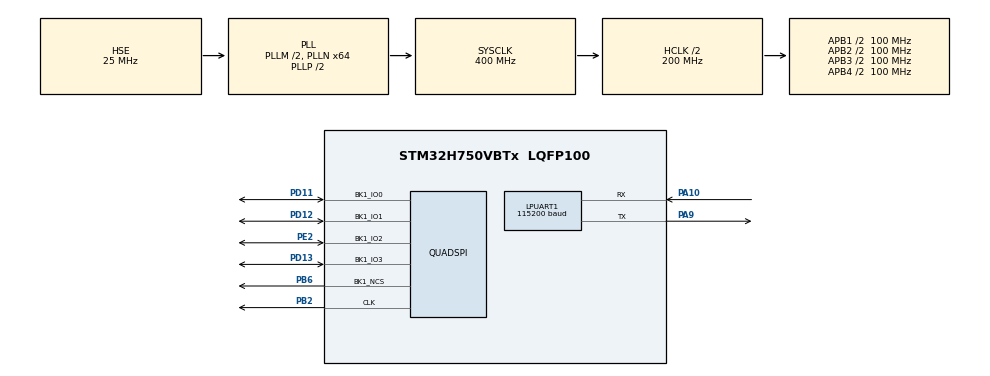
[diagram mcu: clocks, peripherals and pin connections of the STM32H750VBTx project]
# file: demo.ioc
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LPUART1.BaudRate=115200
Mcu.Family=STM32H7
Mcu.Name=STM32H750VBTx
Mcu.Package=LQFP100
Mdma.MDMA_Channel1.QUADSPI_FIFO_TH.0.BlockCount=0
Mdma.MDMA_Channel1.QUADSPI_FIFO_TH.0.BlockDataLength=0
Mdma.MDMA_Channel1.QUADSPI_FIFO_TH.0.BufferTransferLength=128
Mdma.MDMA_Channel1.QUADSPI_FIFO_TH.0.CircularMode=MDMA_LINEAR_LIST
Mdma.MDMA_Channel1.QUADSPI_FIFO_TH.0.DataAlignment=MDMA_DATAALIGN_PACKENABLE
Mdma.MDMA_Channel1.QUADSPI_FIFO_TH.0.DestBlockAddressOffset=0
Mdma.MDMA_Channel1.QUADSPI_FIFO_TH.0.DestBurst=MDMA_DEST_BURST_SINGLE
Mdma.MDMA_Channel1.QUADSPI_FIFO_TH.0.DestDataSize=MDMA_DEST_DATASIZE_BYTE
Mdma.MDMA_Channel1.QUADSPI_FIFO_TH.0.DestinationInc=MDMA_DEST_INC_DISABLE
Mdma.MDMA_Channel1.QUADSPI_FIFO_TH.0.DstAddress=0
Mdma.MDMA_Channel1.QUADSPI_FIFO_TH.0.Endianness=MDMA_LITTLE_ENDIANNESS_PRESERVE
Mdma.MDMA_Channel1.QUADSPI_FIFO_TH.0.Instance=MDMA_Channel1
Mdma.MDMA_Channel1.QUADSPI_FIFO_TH.0.MaskAddress=0
Mdma.MDMA_Channel1.QUADSPI_FIFO_TH.0.MaskData=0
Mdma.MDMA_Channel1.QUADSPI_FIFO_TH.0.Priority=MDMA_PRIORITY_MEDIUM
Mdma.MDMA_Channel1.QUADSPI_FIFO_TH.0.Rank=First
Mdma.MDMA_Channel1.QUADSPI_FIFO_TH.0.SourceBlockAddressOffset=0
Mdma.MDMA_Channel1.QUADSPI_FIFO_TH.0.SourceBurst=MDMA_SOURCE_BURST_SINGLE
Mdma.MDMA_Channel1.QUADSPI_FIFO_TH.0.SourceDataSize=MDMA_SRC_DATASIZE_BYTE
Mdma.MDMA_Channel1.QUADSPI_FIFO_TH.0.SourceInc=MDMA_SRC_INC_BYTE
Mdma.MDMA_Channel1.QUADSPI_FIFO_TH.0.SrcAddress=0
Mdma.MDMA_Channel1.QUADSPI_FIFO_TH.0.TransferTriggerMode=MDMA_BUFFER_TRANSFER
Mdma.MDMA_Channel1.Request0=QUADSPI_FIFO_TH
Mdma.MDMA_Channel1.RequestsNb=1
Mdma.RequestSet0=MDMA_Channel1
Mdma.RequestSetsNb=1
NVIC.MDMA_IRQn=true\:0\:0\:false\:false\:true\:false\:true\:true
NVIC.PriorityGroup=NVIC_PRIORITYGROUP_4
NVIC.QUADSPI_IRQn=true\:1\:0\:true\:false\:true\:true\:true\:true
PA10.Mode=Asynchronous
PA10.Signal=LPUART1_RX
PA13\ (JTMS/SWDIO).Mode=Serial_Wire
PA13\ (JTMS/SWDIO).Signal=DEBUG_JTMS-SWDIO
PA14\ (JTCK/SWCLK).Mode=Serial_Wire
PA14\ (JTCK/SWCLK).Signal=DEBUG_JTCK-SWCLK
PA9.Mode=Asynchronous
PA9.Signal=LPUART1_TX
PB2.GPIO_Speed=GPIO_SPEED_FREQ_VERY_HIGH
PB2.Mode=Single Bank 1
PB2.Signal=QUADSPI_CLK
PB6.GPIO_Speed=GPIO_SPEED_FREQ_VERY_HIGH
PB6.Mode=Single Bank 1
PB6.Signal=QUADSPI_BK1_NCS
PC14-OSC32_IN\ (OSC32_IN).Mode=LSE-External-Oscillator
PC14-OSC32_IN\ (OSC32_IN).Signal=RCC_OSC32_IN
PC15-OSC32_OUT\ (OSC32_OUT).Mode=LSE-External-Oscillator
PC15-OSC32_OUT\ (OSC32_OUT).Signal=RCC_OSC32_OUT
PD11.GPIO_Speed=GPIO_SPEED_FREQ_VERY_HIGH
PD11.Mode=Single Bank 1
PD11.Signal=QUADSPI_BK1_IO0
PD12.GPIO_Speed=GPIO_SPEED_FREQ_VERY_HIGH
PD12.Mode=Single Bank 1
PD12.Signal=QUADSPI_BK1_IO1
PD13.GPIO_Speed=GPIO_SPEED_FREQ_VERY_HIGH
PD13.Mode=Single Bank 1
PD13.Signal=QUADSPI_BK1_IO3
PE2.GPIO_Speed=GPIO_SPEED_FREQ_VERY_HIGH
PE2.Mode=Single Bank 1
PE2.Signal=QUADSPI_BK1_IO2
PH0-OSC_IN\ (PH0).Mode=HSE-External-Oscillator
PH0-OSC_IN\ (PH0).Signal=RCC_OSC_IN
PH1-OSC_OUT\ (PH1).Mode=HSE-External-Oscillator
PH1-OSC_OUT\ (PH1).Signal=RCC_OSC_OUT
ProjectManager.HeapSize=0x200
ProjectManager.StackSize=0x400
ProjectManager.TargetToolchain=MDK-ARM V5.32
QUADSPI.ChipSelectHighTime=QSPI_CS_HIGH_TIME_2_CYCLE
QUADSPI.ClockPrescaler=1
QUADSPI.FifoThreshold=16
QUADSPI.FlashSize=22
QUADSPI.SampleShifting=QSPI_SAMPLE_SHIFTING_HALFCYCLE
RCC.ADCFreq_Value=75000000
RCC.APB1Freq_Value=100000000
RCC.APB2Freq_Value=100000000
RCC.APB3Freq_Value=100000000
RCC.APB4Freq_Value=100000000
RCC.CortexFreq_Value=400000000
RCC.D1PPRE=RCC_APB3_DIV2
RCC.D2PPRE1=RCC_APB1_DIV2
RCC.D2PPRE2=RCC_APB2_DIV2
RCC.D3PPRE=RCC_APB4_DIV2
RCC.DIVM1=2
RCC.DIVM2=2
RCC.DIVM3=2
RCC.DIVN1=64
RCC.DIVN2=12
RCC.DIVN3=24
RCC.DIVQ1=8
RCC.DIVR1=4
RCC.HCLKFreq_Value=200000000
RCC.HPRE=RCC_HCLK_DIV2
RCC.PLL2FRACN=0
RCC.PLL2_VCO_SEL-AdvancedSettings=RCC_PLL2VCOMEDIUM
RCC.PLL3FRACN=0
RCC.PLLFRACN=0
RCC.PLLSourceVirtual=RCC_PLLSOURCE_HSE
RCC.SYSCLKFreq_VALUE=400000000
RCC.SYSCLKSource=RCC_SYSCLKSOURCE_PLLCLK
RCC.USBFreq_Value=100000000
board=custom

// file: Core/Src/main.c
/* USER CODE BEGIN Header */
/**
  ******************************************************************************
  * @file           : main.c
  * @brief          : Main program body
  ******************************************************************************
  * @attention
  *
  * Copyright (c) 2023 STMicroelectronics.
  * All rights reserved.
  *
  * This software is licensed under terms that can be found in the LICENSE file
  * in the root directory of this software component.
  * If no LICENSE file comes with this software, it is provided AS-IS.
  *
  ******************************************************************************
  */
/* USER CODE END Header */
#include "main.h"
#include "usart.h"
#include "mdma.h"
#include "quadspi.h"
#include "gpio.h"

/* USER CODE BEGIN Includes */
#include <stdio.h>
#include <string.h>
#include <stdlib.h>
#include "QSPI_Flash.h"
/* USER CODE END Includes */

void SystemClock_Config(void);

int main(void)
{

  /* MCU Configuration--------------------------------------------------------*/

  /* Reset of all peripherals, Initializes the Flash interface and the Systick. */
  HAL_Init();

  /* Configure the system clock */
  SystemClock_Config();

  /* Initialize all configured peripherals */
  MX_GPIO_Init();
  MX_LPUART1_UART_Init();
  MX_MDMA_Init();
  MX_QUADSPI_Init();
  /* USER CODE BEGIN 2 */
	printf("work\r\n");
  uint8_t data1[16] = {0};
  uint8_t data2[16] = {0};
  QSPI_InitFlash();
  printf("Completed!\r\n");
  printf("read JEDEC:%x\r\n",QSPI_W25Qx_ReadID_DMA());

  printf("Writing data:\r\n");
  for(int i = 0; i < sizeof(data1); i++){
    data1[i] = rand()%256;
    printf("0x%x  ", data1[i]);
    if(i%8 == 7){
      printf("\r\n");
    }
  }

  QSPI_EraseSector(0);
  QSPI_Write(data1, 0, sizeof(data1));
  printf("write over\r\n");

  HAL_Delay(1000);

  printf("Reading data:\r\n");
  QSPI_SetQuardEnable(true);
  printf("QuadRead:%d\r\n",QSPI_QuadOutputFastRead(data2, 0, sizeof(data2)));
  for(int i = 0; i < sizeof(data2); i++){
    printf("0X%x  ", data2[i]);
    if(i%8 == 7){
      printf("\r\n");
    }
  }
	HAL_Delay(1000);
	//DMA
	printf("\r\n\r\nDMA Writing data:\r\n");
  for(int i = 0; i < sizeof(data1); i++){
    data1[i] = i;
    printf("0x%x  ", data1[i]);
    if(i%8 == 7){
      printf("\r\n");
    }
  }

  printf("QSPI_EraseSector:%d\r\n", QSPI_EraseSector(0));

  QSPI_W25Qx_Write_Buffer_DMA(data1, 0, sizeof(data1));
  printf("DMA write over\r\n");

  QSPI_W25Qx_Read_Buffer_DMA(data2, 0, sizeof(data2));
  for(int i = 0; i < sizeof(data2); i++){
    printf("0X%x  ", data2[i]);
    if(i%8 == 7){
      printf("\r\n");
    }
  }
  printf("DMA read over\r\n");

  /* USER CODE END 2 */

  /* Infinite loop */
  while (1)
  {

  }
}

void SystemClock_Config(void)
{
  RCC_OscInitTypeDef RCC_OscInitStruct = {0};
  RCC_ClkInitTypeDef RCC_ClkInitStruct = {0};

  /** Supply configuration update enable
  */
  HAL_PWREx_ConfigSupply(PWR_LDO_SUPPLY);

  /** Configure the main internal regulator output voltage
  */
  __HAL_PWR_VOLTAGESCALING_CONFIG(PWR_REGULATOR_VOLTAGE_SCALE1);

  while(!__HAL_PWR_GET_FLAG(PWR_FLAG_VOSRDY)) {}

  /** Initializes the RCC Oscillators according to the specified parameters
  * in the RCC_OscInitTypeDef structure.
  */
  RCC_OscInitStruct.OscillatorType = RCC_OSCILLATORTYPE_HSE;
  RCC_OscInitStruct.HSEState = RCC_HSE_ON;
  RCC_OscInitStruct.PLL.PLLState = RCC_PLL_ON;
  RCC_OscInitStruct.PLL.PLLSource = RCC_PLLSOURCE_HSE;
  RCC_OscInitStruct.PLL.PLLM = 2;
  RCC_OscInitStruct.PLL.PLLN = 64;
  RCC_OscInitStruct.PLL.PLLP = 2;
  RCC_OscInitStruct.PLL.PLLQ = 8;
  RCC_OscInitStruct.PLL.PLLR = 4;
  RCC_OscInitStruct.PLL.PLLRGE = RCC_PLL1VCIRANGE_3;
  RCC_OscInitStruct.PLL.PLLVCOSEL = RCC_PLL1VCOWIDE;
  RCC_OscInitStruct.PLL.PLLFRACN = 0;
  if (HAL_RCC_OscConfig(&RCC_OscInitStruct) != HAL_OK)
  {
    Error_Handler();
  }

  /** Initializes the CPU, AHB and APB buses clocks
  */
  RCC_ClkInitStruct.ClockType = RCC_CLOCKTYPE_HCLK|RCC_CLOCKTYPE_SYSCLK
                              |RCC_CLOCKTYPE_PCLK1|RCC_CLOCKTYPE_PCLK2
                              |RCC_CLOCKTYPE_D3PCLK1|RCC_CLOCKTYPE_D1PCLK1;
  RCC_ClkInitStruct.SYSCLKSource = RCC_SYSCLKSOURCE_PLLCLK;
  RCC_ClkInitStruct.SYSCLKDivider = RCC_SYSCLK_DIV1;
  RCC_ClkInitStruct.AHBCLKDivider = RCC_HCLK_DIV2;
  RCC_ClkInitStruct.APB3CLKDivider = RCC_APB3_DIV2;
  RCC_ClkInitStruct.APB1CLKDivider = RCC_APB1_DIV2;
  RCC_ClkInitStruct.APB2CLKDivider = RCC_APB2_DIV2;
  RCC_ClkInitStruct.APB4CLKDivider = RCC_APB4_DIV2;

  if (HAL_RCC_ClockConfig(&RCC_ClkInitStruct, FLASH_LATENCY_2) != HAL_OK)
  {
    Error_Handler();
  }
}

void Error_Handler(void)
{
  __disable_irq();
  while (1)
  {
  }
}
